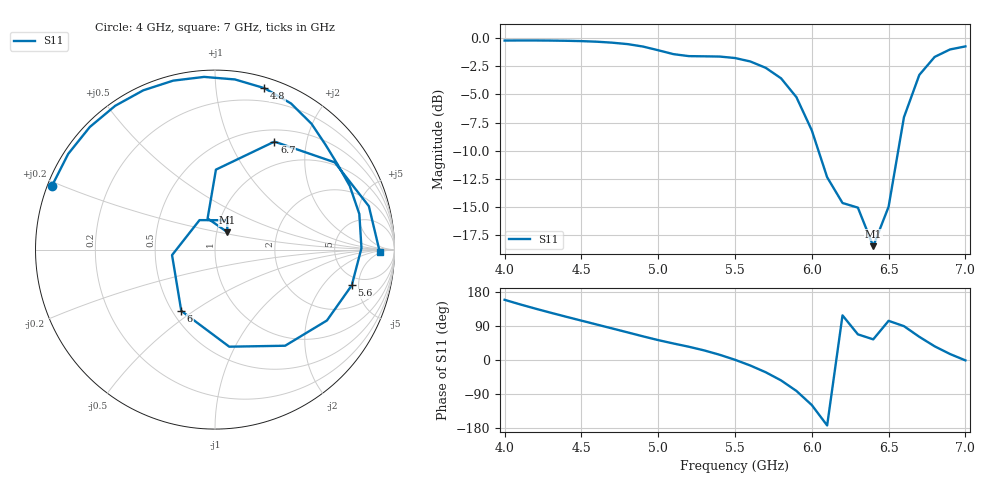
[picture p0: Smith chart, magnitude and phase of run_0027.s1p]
! Touchstone file exported from HFSS 2024.2.0
!  File:  C:/Users/wsak9/Desktop/Sim Fast/Widenad Patch/WP_AI_V1_sweep.aedt
!  Generated:  03:52:29 PM Oct 13, 2026
!  Design:  A1_model
!  Project:  WP_AI_V1_sweep
!  Setup:  Setup1
!  Solution:  Sweep
! Variables:
!  Air_gap = 2.04mm
!  Curve_Amp1 = 1.97
!  Curve_len1 = 1
!  Curve_pos = 10.355mm
!  Extra = 4.18mm
!  H_sub = 0.79mm
!  L_Patch = 16.71mm
!  L_Patch1 = 15.36mm
!  Sx = 4.95mm
!  Sy = 0.81mm
!  WS = 0.25mm
!  W_Patch = 19.4mm
!  W_Patch1 = 11.18mm
!Data is not renormalized
# GHz S MA
! Terminal data exported
! Port[1] = 1
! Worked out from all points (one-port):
!   31 points, 4 GHz to 7 GHz, reference per port
!   lowest |S11| = -18.5 dB at 6.4 GHz (marker M1), VSWR 1.27
!   |S11| at or under -10 dB: 6.044 GHz to 6.563 GHz (519 MHz wide, 8.23 % of centre)
!   S11 on the Smith chart (normalised r, x): 4 GHz: 0.01, +0.19; 4.8 GHz: 0.09, +1.35; 5.6 GHz: 3.94, -4.14; 6 GHz: 0.56, -0.45; 6.7 GHz: 0.65, +1.49; 7 GHz: 23, -5
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4  0.9756 158.8
4.2  0.9763 135.6
4.4  0.9732 114.2
4.5  0.9698 103.9
4.6  0.9641 93.6
4.7  0.9545 83.3
4.8  0.9408 73.0
4.9  0.9177 62.5
5  0.8834 52.5
5.2  0.8319 34.9
5.3  0.8303 25.3
5.4  0.8283 13.8
5.5  0.816 0.6
5.6  0.7876 -14.6
5.7  0.7382 -32.3
5.8  0.663 -53.9
5.9  0.5467 -81.6
6  0.3896 -118.9
6.1  0.2412 -172.7
6.2  0.1855 117.7
6.3  0.1769 67.7
6.4  0.1193 54.5
6.5  0.1785 103.4
6.6  0.4456 89.3
6.7  0.6866 61.2
6.8  0.8254 36.1
6.9  0.8907 15.8
7  0.9188 -1.0
